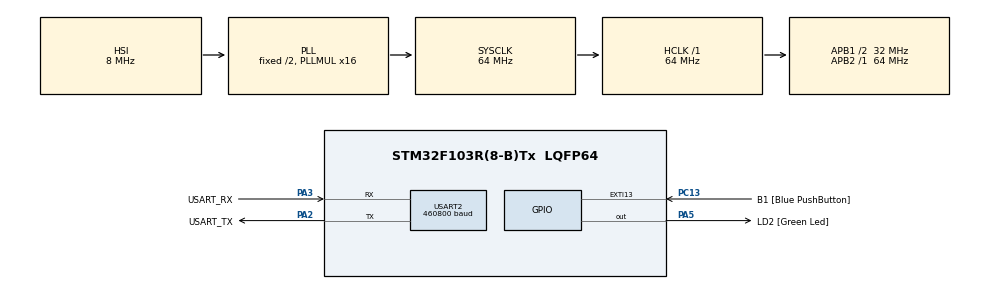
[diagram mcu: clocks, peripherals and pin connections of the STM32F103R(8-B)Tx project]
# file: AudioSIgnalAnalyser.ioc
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Mcu.Family=STM32F1
Mcu.Name=STM32F103R(8-B)Tx
Mcu.Package=LQFP64
NVIC.EXTI15_10_IRQn=true\:0\:0\:false\:false\:true\:true\:true\:true
NVIC.PriorityGroup=NVIC_PRIORITYGROUP_4
NVIC.USART2_IRQn=true\:0\:0\:false\:false\:true\:true\:true\:true
PA13.GPIO_Label=TMS
PA13.Mode=Serial_Wire
PA13.Signal=SYS_JTMS-SWDIO
PA14.GPIO_Label=TCK
PA14.Mode=Serial_Wire
PA14.Signal=SYS_JTCK-SWCLK
PA2.GPIO_Label=USART_TX
PA2.GPIO_Mode=GPIO_MODE_AF_PP
PA2.GPIO_PuPd=GPIO_NOPULL
PA2.GPIO_Speed=GPIO_SPEED_FREQ_LOW
PA2.Mode=Asynchronous
PA2.Signal=USART2_TX
PA3.GPIO_Label=USART_RX
PA3.GPIO_Mode=GPIO_MODE_AF_PP
PA3.GPIO_PuPd=GPIO_NOPULL
PA3.GPIO_Speed=GPIO_SPEED_FREQ_LOW
PA3.Mode=Asynchronous
PA3.Signal=USART2_RX
PA5.GPIO_Label=LD2 [Green Led]
PA5.GPIO_ModeDefaultOutputPP=GPIO_MODE_OUTPUT_PP
PA5.GPIO_PuPd=GPIO_NOPULL
PA5.GPIO_Speed=GPIO_SPEED_FREQ_LOW
PA5.Signal=GPIO_Output
PB3.GPIO_Label=SWO
PB3.Signal=SYS_JTDO-TRACESWO
PC13-TAMPER-RTC.GPIO_Label=B1 [Blue PushButton]
PC13-TAMPER-RTC.GPIO_PuPd=GPIO_NOPULL
PC13-TAMPER-RTC.Signal=GPXTI13
PC14-OSC32_IN.Mode=LSE-External-Oscillator
PC14-OSC32_IN.Signal=RCC_OSC32_IN
PC15-OSC32_OUT.Mode=LSE-External-Oscillator
PC15-OSC32_OUT.Signal=RCC_OSC32_OUT
PD0-OSC_IN.Mode=HSE-External-Clock-Source
PD0-OSC_IN.Signal=RCC_OSC_IN
PD1-OSC_OUT.Mode=HSE-External-Clock-Source
PD1-OSC_OUT.Signal=RCC_OSC_OUT
ProjectManager.HeapSize=0x200
ProjectManager.StackSize=0x400
ProjectManager.TargetToolchain=STM32CubeIDE
RCC.AHBFreq_Value=64000000
RCC.APB1CLKDivider=RCC_HCLK_DIV2
RCC.APB1Freq_Value=32000000
RCC.APB1TimFreq_Value=64000000
RCC.APB2Freq_Value=64000000
RCC.APB2TimFreq_Value=64000000
RCC.HCLKFreq_Value=64000000
RCC.PLLMUL=RCC_PLL_MUL16
RCC.RTCClockSelection=RCC_RTCCLKSOURCE_LSE
RCC.SYSCLKFreq_VALUE=64000000
RCC.SYSCLKSource=RCC_SYSCLKSOURCE_PLLCLK
RCC.USBFreq_Value=64000000
USART2.BaudRate=460800
USART2.VirtualMode=VM_ASYNC
board=NUCLEO-F103RB

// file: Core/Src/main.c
/* USER CODE BEGIN Header */
/**
  ******************************************************************************
  * @file           : main.c
  * @brief          : Audio Spectrum Analyzer with CMSIS-DSP & Flash Optimization
  ******************************************************************************
  */
/* USER CODE END Header */

#include "main.h"

/* USER CODE BEGIN Includes */
#include <stdbool.h>
#include <math.h>

/* CMSIS-DSP Core Includes */
#include "arm_math.h"
#include "arm_const_structs.h"
/* USER CODE END Includes */

/* USER CODE BEGIN PTD */
typedef struct {
    uint8_t buffer[4096];
    volatile uint16_t head;
    volatile uint16_t tail;
} RingBuffer;
/* USER CODE END PTD */

/* USER CODE BEGIN PD */
#define AUDIO_BUFFER_SIZE 4096
/* USER CODE END PD */

UART_HandleTypeDef huart2;

/* USER CODE BEGIN PV */
RingBuffer audio_fifo = { .head = 0, .tail = 0 };
uint8_t rx_data[1];
uint8_t processing_buffer[256];

/* DSP Variables */
float32_t fft_magnitudes[64];
float32_t max_fft_observed = 0.0f;
float32_t lpf_prev_output = 0.0f;
volatile uint32_t packet_counter = 0;

/* Pre-calculated 128-point Hanning Window (Stored in Flash Memory) */
const float32_t hanning_window_128[128] = {
    0.00000000f, 0.00060888f, 0.00243431f, 0.00547025f, 0.00970724f, 0.01513221f, 0.02172828f, 0.02947470f,
    0.03834661f, 0.04831518f, 0.05934759f, 0.07140723f, 0.08445371f, 0.09844309f, 0.11332884f, 0.12906282f,
    0.14559527f, 0.16287582f, 0.18085353f, 0.19947703f, 0.21869460f, 0.23845426f, 0.25870381f, 0.27939103f,
    0.30046380f, 0.32186991f, 0.34355716f, 0.36547343f, 0.38756667f, 0.40978496f, 0.43207641f, 0.45438927f,
    0.47667205f, 0.49887352f, 0.52094285f, 0.54282967f, 0.56448416f, 0.58585695f, 0.60690022f, 0.62756672f,
    0.64781079f, 0.66758763f, 0.68685361f, 0.70556637f, 0.72368481f, 0.74116899f, 0.75798031f, 0.77408162f,
    0.78943734f, 0.80401344f, 0.81777757f, 0.83069905f, 0.84274900f, 0.85389988f, 0.86412595f, 0.87340333f,
    0.88170997f, 0.88902564f, 0.89533190f, 0.90061226f, 0.90485124f, 0.90803522f, 0.91015243f, 0.91119299f,
    0.91119299f, 0.91015243f, 0.90803522f, 0.90485124f, 0.90061226f, 0.89533190f, 0.88902564f, 0.88170997f,
    0.87340333f, 0.86412595f, 0.85389988f, 0.84274900f, 0.83069905f, 0.81777757f, 0.80401344f, 0.78943734f,
    0.77408162f, 0.75798031f, 0.74116899f, 0.72368481f, 0.70556637f, 0.68685361f, 0.66758763f, 0.64781079f,
    0.62756672f, 0.60690022f, 0.58585695f, 0.56448416f, 0.54282967f, 0.52094285f, 0.49887352f, 0.47667205f,
    0.45438927f, 0.43207641f, 0.40978496f, 0.38756667f, 0.36547343f, 0.34355716f, 0.32186991f, 0.30046380f,
    0.27939103f, 0.25870381f, 0.23845426f, 0.21869460f, 0.19947703f, 0.18085353f, 0.16287582f, 0.14559527f,
    0.12906282f, 0.11332884f, 0.09844309f, 0.08445371f, 0.07140723f, 0.05934759f, 0.04831518f, 0.03834661f,
    0.02947470f, 0.02172828f, 0.01513221f, 0.00970724f, 0.00547025f, 0.00243431f, 0.00060888f, 0.00000000f
};
/* USER CODE END PV */

void SystemClock_Config(void);
static void MX_GPIO_Init(void);
static void MX_USART2_UART_Init(void);

/* USER CODE BEGIN PFP */
void ring_buffer_push(uint8_t data);
void ring_buffer_pop(uint8_t *dest, uint16_t length);
/* USER CODE END PFP */

int main(void)
{

  /* MCU Configuration--------------------------------------------------------*/

  /* Reset of all peripherals, Initializes the Flash interface and the Systick. */
  HAL_Init();

  /* Configure the system clock */
  SystemClock_Config();

  /* Initialize all configured peripherals */
  MX_GPIO_Init();
  MX_USART2_UART_Init();

  /* USER CODE BEGIN 2 */
  /* Prime the UART to receive the first byte via Interrupt */
  HAL_UART_Receive_IT(&huart2, rx_data, 1);
  /* USER CODE END 2 */

  /* Infinite loop */
  /* USER CODE BEGIN WHILE */
  while (1)
  {
      /* Calculate available unread bytes in the ring buffer */
      uint16_t data_available = (audio_fifo.head >= audio_fifo.tail) ?
                                (audio_fifo.head - audio_fifo.tail) :
                                (AUDIO_BUFFER_SIZE - audio_fifo.tail + audio_fifo.head);

      /* Wait until a full 128-sample frame (256 bytes) is ready */
      if (data_available >= 256) {
          ring_buffer_pop(processing_buffer, 256);

          /* CMSIS-DSP interleaved buffer: [Real, Imag, Real, Imag...] */
          float32_t fft_buffer[256];
          int sample_index = 0;

          /* Low-Pass Filter configuration (alpha = 0.28 sets cutoff fc ~ 1 kHz) */
          const float32_t alpha = 0.28f;

          for (int i = 0; i < 256; i += 2) {
              /* 1. Reconstruct 16-bit PCM integer (Little-Endian) */
              int16_t raw_pcm = (int16_t)((processing_buffer[i+1] << 8) | processing_buffer[i]);

              /* 2. Apply Single-Pole IIR Low-Pass Filter */
              float32_t filtered_sample = (alpha * (float32_t)raw_pcm) + ((1.0f - alpha) * lpf_prev_output);
              lpf_prev_output = filtered_sample;

              /* 3. Windowing (Flash Lookup) */
              /* Multiply the filtered sample by the pre-calculated Hanning array */
              fft_buffer[sample_index * 2] = filtered_sample * hanning_window_128[sample_index]; /* Real */
              fft_buffer[(sample_index * 2) + 1] = 0.0f;                                         /* Imaginary */

              sample_index++;
          }

          /* 4. Execute CMSIS-DSP 128-point Floating-Point FFT */
          arm_cfft_f32(&arm_cfft_sR_f32_len128, fft_buffer, 0, 1);

          /* 5. Extract Complex Magnitudes natively */
          float32_t raw_magnitudes[64];
          arm_cmplx_mag_f32(fft_buffer, raw_magnitudes, 64);

          /* 6. Normalize */
          for (int i = 0; i < 64; i++) {
              /* Divide by N/2 (64) to scale array back to PCM16 range */
              float32_t current_mag = raw_magnitudes[i] / 64.0f;
              fft_magnitudes[i] = current_mag;

              if (current_mag > max_fft_observed) {
                  max_fft_observed = current_mag;
              }
          }

          /* 7. Transmit FFT Data back to PC for Visualization */
          uint8_t sync_header[4] = {0xAA, 0xBB, 0xCC, 0xDD};
          HAL_UART_Transmit(&huart2, sync_header, 4, 10);
          HAL_UART_Transmit(&huart2, (uint8_t*)fft_magnitudes, sizeof(fft_magnitudes), 50);
      }
    /* USER CODE END WHILE */

  }
}

void SystemClock_Config(void)
{
  RCC_OscInitTypeDef RCC_OscInitStruct = {0};
  RCC_ClkInitTypeDef RCC_ClkInitStruct = {0};

  /** Initializes the RCC Oscillators according to the specified parameters
  * in the RCC_OscInitTypeDef structure.
  */
  RCC_OscInitStruct.OscillatorType = RCC_OSCILLATORTYPE_HSI;
  RCC_OscInitStruct.HSIState = RCC_HSI_ON;
  RCC_OscInitStruct.HSICalibrationValue = RCC_HSICALIBRATION_DEFAULT;
  RCC_OscInitStruct.PLL.PLLState = RCC_PLL_ON;
  RCC_OscInitStruct.PLL.PLLSource = RCC_PLLSOURCE_HSI_DIV2;
  RCC_OscInitStruct.PLL.PLLMUL = RCC_PLL_MUL16;
  if (HAL_RCC_OscConfig(&RCC_OscInitStruct) != HAL_OK)
  {
    Error_Handler();
  }

  /** Initializes the CPU, AHB and APB buses clocks
  */
  RCC_ClkInitStruct.ClockType = RCC_CLOCKTYPE_HCLK|RCC_CLOCKTYPE_SYSCLK
                              |RCC_CLOCKTYPE_PCLK1|RCC_CLOCKTYPE_PCLK2;
  RCC_ClkInitStruct.SYSCLKSource = RCC_SYSCLKSOURCE_PLLCLK;
  RCC_ClkInitStruct.AHBCLKDivider = RCC_SYSCLK_DIV1;
  RCC_ClkInitStruct.APB1CLKDivider = RCC_HCLK_DIV2;
  RCC_ClkInitStruct.APB2CLKDivider = RCC_HCLK_DIV1;

  if (HAL_RCC_ClockConfig(&RCC_ClkInitStruct, FLASH_LATENCY_2) != HAL_OK)
  {
    Error_Handler();
  }
}

static void MX_USART2_UART_Init(void)
{

  huart2.Instance = USART2;
  huart2.Init.BaudRate = 460800;
  huart2.Init.WordLength = UART_WORDLENGTH_8B;
  huart2.Init.StopBits = UART_STOPBITS_1;
  huart2.Init.Parity = UART_PARITY_NONE;
  huart2.Init.Mode = UART_MODE_TX_RX;
  huart2.Init.HwFlowCtl = UART_HWCONTROL_NONE;
  huart2.Init.OverSampling = UART_OVERSAMPLING_16;
  if (HAL_UART_Init(&huart2) != HAL_OK)
  {
    Error_Handler();
  }

}

static void MX_GPIO_Init(void)
{
  GPIO_InitTypeDef GPIO_InitStruct = {0};

  /* GPIO Ports Clock Enable */
  __HAL_RCC_GPIOC_CLK_ENABLE();
  __HAL_RCC_GPIOD_CLK_ENABLE();
  __HAL_RCC_GPIOA_CLK_ENABLE();
  __HAL_RCC_GPIOB_CLK_ENABLE();

  /*Configure GPIO pin Output Level */
  HAL_GPIO_WritePin(LD2_GPIO_Port, LD2_Pin, GPIO_PIN_RESET);

  /*Configure GPIO pin : B1_Pin */
  GPIO_InitStruct.Pin = B1_Pin;
  GPIO_InitStruct.Mode = GPIO_MODE_IT_RISING;
  GPIO_InitStruct.Pull = GPIO_NOPULL;
  HAL_GPIO_Init(B1_GPIO_Port, &GPIO_InitStruct);

  /*Configure GPIO pin : LD2_Pin */
  GPIO_InitStruct.Pin = LD2_Pin;
  GPIO_InitStruct.Mode = GPIO_MODE_OUTPUT_PP;
  GPIO_InitStruct.Pull = GPIO_NOPULL;
  GPIO_InitStruct.Speed = GPIO_SPEED_FREQ_LOW;
  HAL_GPIO_Init(LD2_GPIO_Port, &GPIO_InitStruct);

  /* EXTI interrupt init*/
  HAL_NVIC_SetPriority(EXTI15_10_IRQn, 0, 0);
  HAL_NVIC_EnableIRQ(EXTI15_10_IRQn);

}

/* USER CODE BEGIN 4 */
void ring_buffer_push(uint8_t data) {
    uint16_t next_head = (audio_fifo.head + 1) % AUDIO_BUFFER_SIZE;
    if (next_head != audio_fifo.tail) {
        audio_fifo.buffer[audio_fifo.head] = data;
        audio_fifo.head = next_head;
    }
}

void ring_buffer_pop(uint8_t *dest, uint16_t length) {
    for (uint16_t i = 0; i < length; i++) {
        dest[i] = audio_fifo.buffer[audio_fifo.tail];
        audio_fifo.tail = (audio_fifo.tail + 1) % AUDIO_BUFFER_SIZE;
    }
}

void HAL_UART_RxCpltCallback(UART_HandleTypeDef *huart)
{
    if (huart->Instance == USART2)
    {
        ring_buffer_push(rx_data[0]);

        packet_counter++;
        /* Toggle LED to confirm data ingestion */
        if (packet_counter >= 250) {
            HAL_GPIO_TogglePin(LD2_GPIO_Port, LD2_Pin);
            packet_counter = 0;
        }

        /* Re-prime the interrupt for the next byte */
        HAL_UART_Receive_IT(&huart2, rx_data, 1);
    }
}

void HAL_UART_ErrorCallback(UART_HandleTypeDef *huart)
{
    if (huart->Instance == USART2)
    {
        /* Clear UART Overrun (ORE) flags manually if data arrives too fast */
        volatile uint32_t tmpreg = 0x00U;
        tmpreg = huart->Instance->SR;
        tmpreg = huart->Instance->DR;
        (void)tmpreg;

        huart->ErrorCode = HAL_UART_ERROR_NONE;
        huart->RxState = HAL_UART_STATE_READY;

        HAL_UART_Receive_IT(&huart2, rx_data, 1);
    }
}
/* USER CODE END 4 */

void Error_Handler(void)
{
  __disable_irq();
  while (1)
  {
  }
}
